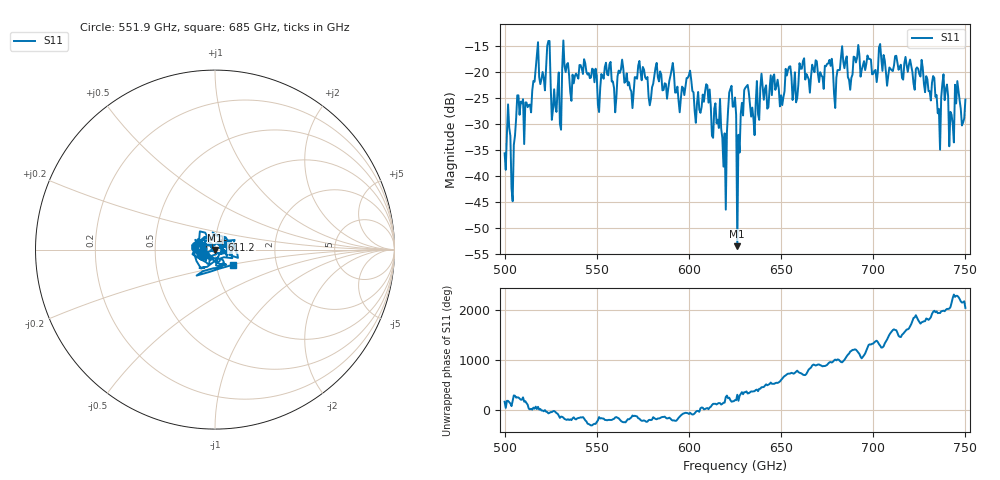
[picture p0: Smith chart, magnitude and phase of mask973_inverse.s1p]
!Created with skrf (http://scikit-rf.org).
# GHz S MA R 50.0
!freq magS11 angS11
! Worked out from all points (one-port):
!   401 points, 500 GHz to 750 GHz, reference 50 ohm
!   lowest |S11| = -53.6 dB at 626.2 GHz (marker M1), VSWR 1.00, Z = 50.1 - j0.167 ohm
!   |S11| at or under -10 dB: start of sweep to end of sweep
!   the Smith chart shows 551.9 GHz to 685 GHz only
!   S11 on the Smith chart (normalised r, x): 551.9 GHz: 0.87, -0.03; 611.2 GHz: 1.08, +0.12; 685 GHz: 1.20, -0.21
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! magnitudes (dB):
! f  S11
! 500 GHz  -35.7
! 504.4 GHz  -44.9
! 507.5 GHz  -24.5
! 511.9 GHz  -25.9
! 516.9 GHz  -19.3
! 523.8 GHz  -14.0
! 526.9 GHz  -23.3
! 531.2 GHz  -19.2
! 533.1 GHz  -20.0
! 551.9 GHz  -23.0
! 562.5 GHz  -20.2
! 593.8 GHz  -22.8
! 611.2 GHz  -23.4
! 618.8 GHz  -38.2
! 622.5 GHz  -23.2
! 625 GHz  -24.9
! 626.2 GHz  -53.6
! 631.2 GHz  -22.8
! 634.4 GHz  -26.8
! 656.2 GHz  -25.4
! 685 GHz  -17.7
! 687.5 GHz  -23.4
! 718.8 GHz  -20.0
! 735 GHz  -27.9
! 738.8 GHz  -25.4
! 742.5 GHz  -28.2
! 745.6 GHz  -21.7
! 750 GHz  -25.3
